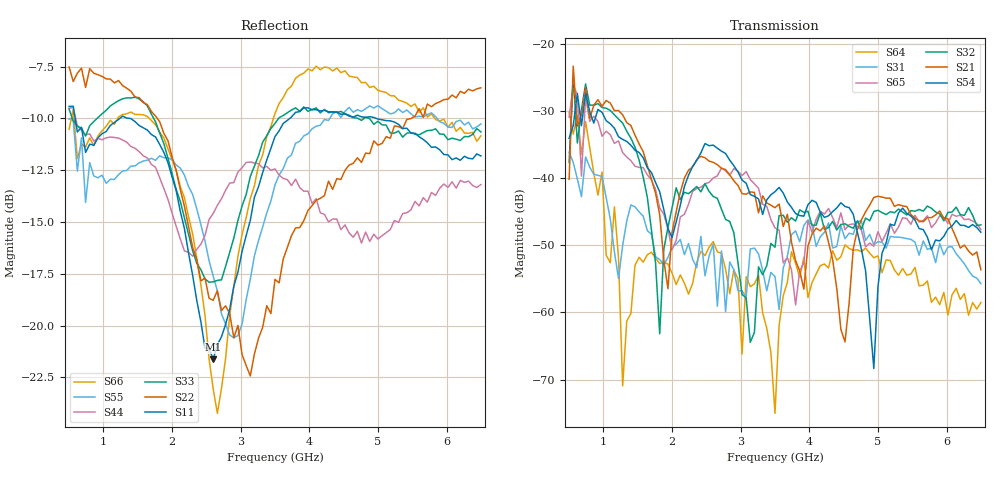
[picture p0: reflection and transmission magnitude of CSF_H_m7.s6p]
!Keysight Technologies,M9804A,MY58100912,A.14.10.03
!Date: Thursday, April 27, 2023 10:28:33
!Correction: S11(C  6-Port  )
!S12(C  6-Port  )
!S13(C  6-Port  )
!S14(C  6-Port  )
!S15(C  6-Port  )
!S16(C  6-Port  )
!S21(C  6-Port  )
!S22(C  6-Port  )
!S23(C  6-Port  )
!S24(C  6-Port  )
!S25(C  6-Port  )
!S26(C  6-Port  )
!S31(C  6-Port  )
!S32(C  6-Port  )
!S33(C  6-Port  )
!S34(C  6-Port  )
!S35(C  6-Port  )
!S36(C  6-Port  )
!S41(C  6-Port  )
!S42(C  6-Port  )
!S43(C  6-Port  )
!S44(C  6-Port  )
!S45(C  6-Port  )
!S46(C  6-Port  )
!S51(C  6-Port  )
!S52(C  6-Port  )
!S53(C  6-Port  )
!S54(C  6-Port  )
!S55(C  6-Port  )
!S56(C  6-Port  )
!S61(C  6-Port  )
!S62(C  6-Port  )
!S63(C  6-Port  )
!S64(C  6-Port  )
!S65(C  6-Port  )
!S66(C  6-Port  )
!S6P File: Measurement: :
# Hz S  RI  R 50
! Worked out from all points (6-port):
!   101 points, 500 MHz to 6.5 GHz, reference 50 ohm
!   strongest paths, dB at 500 MHz, 2 GHz, 3.5 GHz, 5 GHz, 6.5 GHz:
!     S54: -34.0, -48.8, -42.0, -56.2, -48.0
!     S21: -40.1, -48.0, -44.4, -42.7, -53.6
!     S32: -37.6, -44.4, -50.3, -44.8, -46.9
!     S65: -30.9, -50.6, -47.4, -48.0, -47.6
!     S31: -36.1, -50.3, -54.6, -49.4, -55.7
!     S64: -30.1, -54.1, -75.0, -51.6, -58.5
!   lowest |S11| = -21.6 dB at 2.6 GHz (marker M1), VSWR 1.18, Z = 42.6 + j2.04 ohm
!   |S11| at or under -10 dB: 588.2 MHz to 1.24 GHz (651.9 MHz wide, 71.3 % of centre); 1.376 GHz to 3.715 GHz (2.339 GHz wide, 91.9 % of centre); 4.975 GHz to end of sweep
